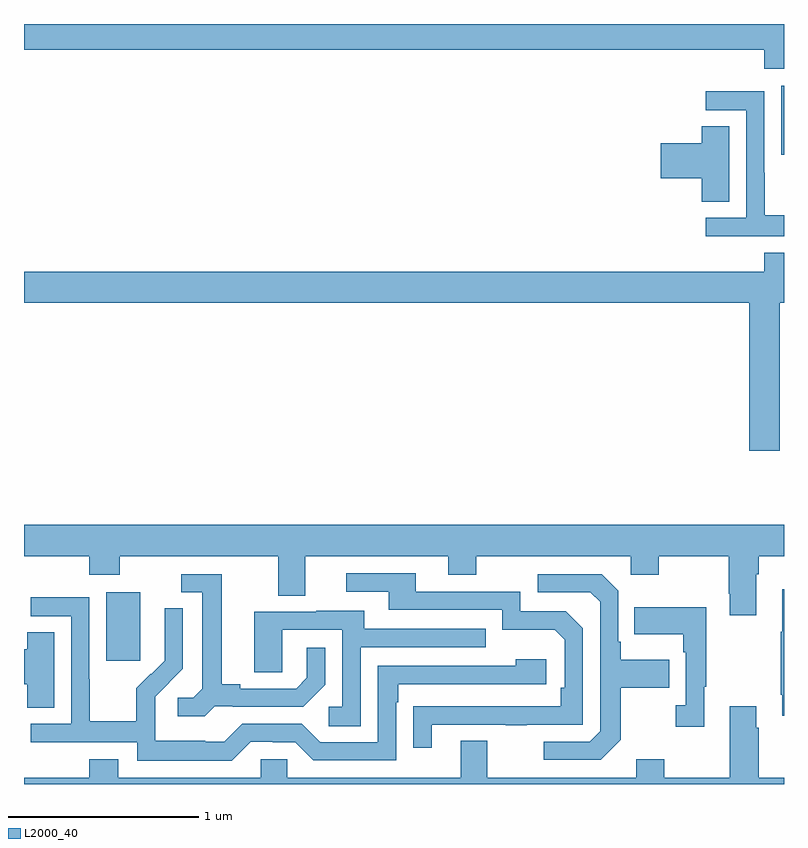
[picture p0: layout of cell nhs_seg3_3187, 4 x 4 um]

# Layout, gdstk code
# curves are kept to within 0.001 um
import gdstk
lib = gdstk.Library(unit=1e-6, precision=1e-09)
def R(c, l, rs):  # rectangles x0, y0, x1, y1
    for r in rs: c.add(gdstk.rectangle(r[:2], r[2:], *l))
def P(c, l, *ps):  # polygons
    for p in ps: c.add(gdstk.Polygon(p, *l))
L2000_40 = (2000, 40)

nhs_seg3_3187 = lib.new_cell('nhs_seg3_3187')
R(nhs_seg3_3187, L2000_40, [(277.433,683.049,277.612,683.41), (280.985,685.713,281,686.074)])
P(nhs_seg3_3187, L2000_40, [(281,686.4),(277,686.4),(277,686.264),(280.895,686.264),(280.895,686.165),(281,686.165)],
  [(281,685.393),(280.899,685.393),(280.899,685.616),(280.896,685.616),(280.896,686.046),(280.587,686.046),(280.587,685.947),(280.8,685.947),(280.8,685.38),(280.587,685.38),(280.587,685.284),(281,685.284)],
  [(280.711,685.862),(280.568,685.862),(280.568,685.772),(280.35,685.772),(280.35,685.589),(280.568,685.589),(280.568,685.465),(280.711,685.465)],
  [(280.977,684.932),(281,684.932),(281,685.195),(280.895,685.195),(280.895,685.096),(277,685.096),(277,684.932),(280.817,684.932),(280.817,684.153),(280.977,684.153)],
  [(280.855,683.504),(280.868,683.504),(280.868,683.6),(281,683.6),(281,683.764),(277,683.764),(277,683.6),(277.343,683.6),(277.343,683.501),(277.503,683.501),(277.503,683.6),(278.339,683.6),(278.339,683.392),(278.479,683.392),(278.479,683.6),(279.233,683.6),(279.233,683.501),(279.381,683.501),(279.381,683.6),(280.194,683.6),(280.194,683.501),(280.341,683.501),(280.341,683.6),(280.708,683.6),(280.708,683.401),(280.715,683.401),(280.715,683.289),(280.855,683.289)],
  [(279.145,682.713),(279.535,682.713),(279.535,682.708),(279.647,682.708),(279.647,682.713),(279.942,682.713),(279.942,683.22),(279.852,683.31),(279.612,683.31),(279.612,683.412),(279.061,683.412),(279.061,683.508),(278.697,683.508),(278.697,683.412),(278.921,683.412),(278.921,683.316),(279.516,683.316),(279.516,683.213),(279.793,683.213),(279.846,683.16),(279.846,682.906),(279.826,682.906),(279.826,682.809),(279.049,682.808),(279.049,682.59),(279.145,682.59)],
  [(280.141,682.633),(280.141,682.906),(280.397,682.906),(280.397,683.053),(280.141,683.053),(280.141,683.149),(280.128,683.149),(280.128,683.418),(280.041,683.505),(279.705,683.505),(279.705,683.409),(279.981,683.409),(280.032,683.358),(280.032,682.677),(279.978,682.623),(279.735,682.623),(279.735,682.527),(280.035,682.527)],
  [(278.004,682.809),(278.098,682.809),(278.098,682.806),(278.47,682.806),(278.586,682.922),(278.586,683.116),(278.489,683.116),(278.489,682.959),(278.432,682.902),(278.137,682.902),(278.137,682.925),(278.041,682.925),(278.041,683.505),(277.827,683.505),(277.827,683.409),(277.937,683.409),(277.937,682.901),(277.89,682.854),(277.809,682.854),(277.809,682.757),(277.952,682.757)],
  [(281,683.425),(280.991,683.425),(280.991,683.201),(280.984,683.201),(280.984,682.87),(280.991,682.87),(280.991,682.758),(281,682.758)],
  [(278.193,682.623),(278.309,682.623),(278.309,682.62),(278.427,682.62),(278.523,682.524),(278.958,682.524),(278.958,682.829),(278.971,682.829),(278.971,682.926),(279.748,682.926),(279.748,683.056),(279.587,683.056),(279.587,683.022),(278.862,683.022),(278.862,682.62),(278.559,682.62),(278.463,682.716),(278.148,682.716),(278.055,682.623),(277.955,682.623),(277.955,682.627),(277.692,682.627),(277.692,682.761),(277.69,682.761),(277.69,682.858),(277.836,683.006),(277.836,683.324),(277.74,683.324),(277.74,683.17),(277.742,683.17),(277.742,683.048),(277.671,682.977),(277.668,682.98),(277.591,682.903),(277.591,682.729),(277.347,682.729),(277.347,682.952),(277.344,682.952),(277.344,683.382),(277.035,683.382),(277.035,683.283),(277.248,683.283),(277.248,682.716),(277.035,682.716),(277.035,682.62),(277.596,682.62),(277.596,682.523),(278.093,682.523)],
  [(280.579,682.913),(280.591,682.913),(280.591,683.329),(280.213,683.329),(280.213,683.189),(280.47,683.189),(280.47,683.093),(280.482,683.093),(280.482,682.814),(280.431,682.814),(280.431,682.701),(280.579,682.701)],
  [(278.772,683.121),(279.431,683.121),(279.431,683.217),(278.791,683.217),(278.791,683.311),(278.537,683.311),(278.537,683.307),(278.213,683.307),(278.213,682.987),(278.358,682.987),(278.358,683.211),(278.676,683.211),(278.676,682.806),(278.604,682.806),(278.604,682.705),(278.772,682.705)],
  [(277.159,683.198),(277.016,683.198),(277.016,683.108),(277,683.108),(277,682.925),(277.016,682.925),(277.016,682.801),(277.159,682.801)],
  [(281,682.432),(280.868,682.432),(280.868,682.697),(280.855,682.697),(280.855,682.81),(280.715,682.81),(280.715,682.432),(280.371,682.432),(280.371,682.531),(280.223,682.531),(280.223,682.432),(279.439,682.432),(279.439,682.627),(279.299,682.627),(279.299,682.432),(278.385,682.432),(278.385,682.53),(278.247,682.53),(278.247,682.432),(277.495,682.432),(277.495,682.531),(277.343,682.531),(277.343,682.432),(277,682.432),(277,682.4),(281,682.4)])

lib.write_gds('nhs_seg3_3187.gds')
